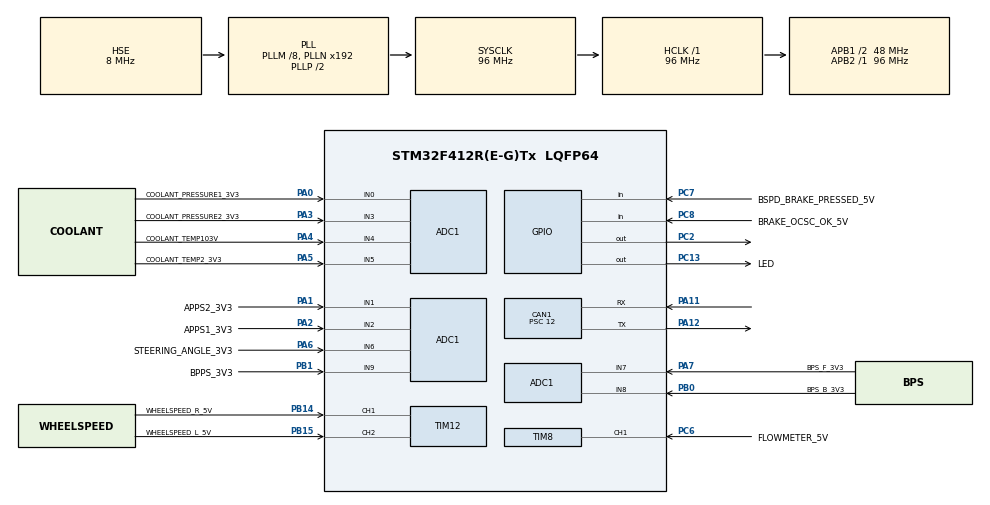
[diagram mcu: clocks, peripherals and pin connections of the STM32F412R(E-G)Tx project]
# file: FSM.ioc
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ADC1.Channel-0\#ChannelRegularConversion=ADC_CHANNEL_0
ADC1.Channel-1\#ChannelRegularConversion=ADC_CHANNEL_1
ADC1.Channel-2\#ChannelRegularConversion=ADC_CHANNEL_2
ADC1.Channel-3\#ChannelRegularConversion=ADC_CHANNEL_3
ADC1.Channel-4\#ChannelRegularConversion=ADC_CHANNEL_4
ADC1.Channel-5\#ChannelRegularConversion=ADC_CHANNEL_5
ADC1.Channel-6\#ChannelRegularConversion=ADC_CHANNEL_6
ADC1.Channel-7\#ChannelRegularConversion=ADC_CHANNEL_7
ADC1.Channel-8\#ChannelRegularConversion=ADC_CHANNEL_8
ADC1.Channel-9\#ChannelRegularConversion=ADC_CHANNEL_9
ADC1.DMAContinuousRequests=ENABLE
ADC1.ExternalTrigConv=ADC_EXTERNALTRIGCONV_T3_TRGO
ADC1.NbrOfConversion=10
ADC1.NbrOfConversionFlag=1
ADC1.Rank-0\#ChannelRegularConversion=1
ADC1.Rank-1\#ChannelRegularConversion=2
ADC1.Rank-2\#ChannelRegularConversion=3
ADC1.Rank-3\#ChannelRegularConversion=4
ADC1.Rank-4\#ChannelRegularConversion=5
ADC1.Rank-5\#ChannelRegularConversion=6
ADC1.Rank-6\#ChannelRegularConversion=7
ADC1.Rank-7\#ChannelRegularConversion=8
ADC1.Rank-8\#ChannelRegularConversion=9
ADC1.Rank-9\#ChannelRegularConversion=10
ADC1.SamplingTime-0\#ChannelRegularConversion=ADC_SAMPLETIME_3CYCLES
ADC1.SamplingTime-1\#ChannelRegularConversion=ADC_SAMPLETIME_3CYCLES
ADC1.SamplingTime-2\#ChannelRegularConversion=ADC_SAMPLETIME_3CYCLES
ADC1.SamplingTime-3\#ChannelRegularConversion=ADC_SAMPLETIME_3CYCLES
ADC1.SamplingTime-4\#ChannelRegularConversion=ADC_SAMPLETIME_3CYCLES
ADC1.SamplingTime-5\#ChannelRegularConversion=ADC_SAMPLETIME_3CYCLES
ADC1.SamplingTime-6\#ChannelRegularConversion=ADC_SAMPLETIME_3CYCLES
ADC1.SamplingTime-7\#ChannelRegularConversion=ADC_SAMPLETIME_3CYCLES
ADC1.SamplingTime-8\#ChannelRegularConversion=ADC_SAMPLETIME_3CYCLES
ADC1.SamplingTime-9\#ChannelRegularConversion=ADC_SAMPLETIME_3CYCLES
ADC1.master=1
CAN1.ABOM=ENABLE
CAN1.BS1=CAN_BS1_6TQ
CAN1.BS2=CAN_BS2_1TQ
CAN1.CalculateBaudRate=500000
CAN1.CalculateTimeBit=2000
CAN1.CalculateTimeQuantum=250.0
CAN1.NART=ENABLE
CAN1.Prescaler=12
CAN1.RFLM=ENABLE
CAN1.SJW=CAN_SJW_4TQ
CAN1.TXFP=ENABLE
Dma.ADC1.0.Direction=DMA_PERIPH_TO_MEMORY
Dma.ADC1.0.FIFOMode=DMA_FIFOMODE_DISABLE
Dma.ADC1.0.Instance=DMA2_Stream0
Dma.ADC1.0.MemDataAlignment=DMA_MDATAALIGN_HALFWORD
Dma.ADC1.0.MemInc=DMA_MINC_ENABLE
Dma.ADC1.0.Mode=DMA_CIRCULAR
Dma.ADC1.0.PeriphDataAlignment=DMA_PDATAALIGN_HALFWORD
Dma.ADC1.0.PeriphInc=DMA_PINC_DISABLE
Dma.ADC1.0.Priority=DMA_PRIORITY_LOW
Dma.Request0=ADC1
FREERTOS.INCLUDE_uxTaskGetStackHighWaterMark=1
FREERTOS.INCLUDE_vTaskDelayUntil=1
FREERTOS.MEMORY_ALLOCATION=1
FREERTOS.Tasks01=Task1kHz,48,512,RunTask1kHz,Default,NULL,Static,Task1kHzBuffer,Task1kHzControlBlock;Task100Hz,40,512,RunTask100Hz,Default,NULL,Static,Task100HzBuffer,Task100HzControlBlock;TaskCanRx,24,512,RunTaskCanRx,Default,NULL,Static,TaskCanRxBuffer,TaskCanRxControlBlock;TaskCanTx,24,512,RunTaskCanTx,Default,NULL,Static,TaskCanTxBuffer,TaskCanTxControlBlock;Task1Hz,32,512,RunTask1Hz,Default,NULL,Static,Task1HzBuffer,Task1HzControlBlock
FREERTOS.configCHECK_FOR_STACK_OVERFLOW=2
FREERTOS.configUSE_NEWLIB_REENTRANT=1
FREERTOS.configUSE_TICK_HOOK=1
FREERTOS.configUSE_TRACE_FACILITY=1
IWDG.Reload=LSI_FREQUENCY / IWDG_PRESCALER / IWDG_RESET_FREQUENCY
Mcu.Family=STM32F4
Mcu.Name=STM32F412R(E-G)Tx
Mcu.Package=LQFP64
Mcu.UserConstants=LSI_FREQUENCY,32000;IWDG_PRESCALER,4;IWDG_RESET_FREQUENCY,5;IWDG_WINDOW_DISABLE_VALUE,4095;IDWG_RESET_FREQUENCY,5;TASK_1HZ_STACK_SIZE,512;TASK_100HZ_STACK_SIZE,512;TASK_1KHZ_STACK_SIZE,512;TASK_CANRX_STACK_SIZE,512;TASK_CANTX_STACK_SIZE,512;TIM8_AUTO_RELOAD_REG,0xFFFF;TIMx_FREQUENCY,96000000;TIM8_PWM_MINIMUM_FREQUENCY,1;ADC_FREQUENCY,1000;TIM8_PRESCALER,(TIMx_FREQUENCY / TIM8_AUTO_RELOAD_REG / TIM8_PWM_MINIMUM_FREQUENCY);TIM12_AUTO_RELOAD_REG,0xFFFF;TIM12_PRESCALER,(TIMx_FREQUENCY / TIM12_AUTO_RELOAD_REG / TIM12_PWM_MINIMUM_FREQUENCY);TIM12_PWM_MINIMUM_FREQUENCY,1;TIM3_PRESCALER,8
NVIC.CAN1_RX0_IRQn=true\:5\:0\:false\:false\:true\:true\:true\:true\:true
NVIC.CAN1_RX1_IRQn=true\:5\:0\:false\:false\:true\:true\:true\:true\:true
NVIC.DMA2_Stream0_IRQn=true\:5\:0\:false\:false\:true\:true\:false\:true\:true
NVIC.PriorityGroup=NVIC_PRIORITYGROUP_4
NVIC.TIM3_IRQn=true\:5\:0\:false\:false\:true\:true\:true\:true\:true
NVIC.TIM6_IRQn=true\:0\:0\:false\:false\:true\:false\:false\:true\:true
NVIC.TIM8_BRK_TIM12_IRQn=true\:5\:0\:false\:false\:true\:true\:true\:true\:true
NVIC.TIM8_CC_IRQn=true\:5\:0\:false\:false\:true\:true\:true\:true\:true
NVIC.TimeBase=TIM6_IRQn
NVIC.TimeBaseIP=TIM6
PA0.GPIO_Label=COOLANT_PRESSURE1_3V3
PA0.Signal=ADCx_IN0
PA1.GPIO_Label=APPS2_3V3
PA1.Signal=ADCx_IN1
PA11.Mode=CAN_Activate
PA11.Signal=CAN1_RX
PA12.Mode=CAN_Activate
PA12.Signal=CAN1_TX
PA13.Mode=Trace_Asynchronous_SW
PA13.Signal=SYS_JTMS-SWDIO
PA14.Mode=Trace_Asynchronous_SW
PA14.Signal=SYS_JTCK-SWCLK
PA2.GPIO_Label=APPS1_3V3
PA2.Signal=ADCx_IN2
PA3.GPIO_Label=COOLANT_PRESSURE2_3V3
PA3.Signal=ADCx_IN3
PA4.GPIO_Label=COOLANT_TEMP103V
PA4.Signal=ADCx_IN4
PA5.GPIO_Label=COOLANT_TEMP2_3V3
PA5.Signal=ADCx_IN5
PA6.GPIO_Label=STEERING_ANGLE_3V3
PA6.Signal=ADCx_IN6
PA7.GPIO_Label=BPS_F_3V3
PA7.Signal=ADCx_IN7
PB0.GPIO_Label=BPS_B_3V3
PB0.Signal=ADCx_IN8
PB1.GPIO_Label=BPPS_3V3
PB1.Signal=ADCx_IN9
PB14.GPIO_Label=WHEELSPEED_R_5V
PB14.Signal=S_TIM12_CH1
PB15.GPIO_Label=WHEELSPEED_L_5V
PB15.Signal=S_TIM12_CH2
PB3.Mode=Trace_Asynchronous_SW
PB3.Signal=SYS_JTDO-SWO
PC13.GPIO_Label=LED
PC13.Signal=GPIO_Output
PC2.Signal=GPIO_Output
PC6.GPIO_Label=FLOWMETER_5V
PC6.Signal=S_TIM8_CH1
PC7.GPIO_Label=BSPD_BRAKE_PRESSED_5V
PC7.GPIO_PuPd=GPIO_NOPULL
PC7.Signal=GPIO_Input
PC8.GPIO_Label=BRAKE_OCSC_OK_5V
PC8.Signal=GPIO_Input
PH0\ -\ OSC_IN.Mode=HSE-External-Oscillator
PH0\ -\ OSC_IN.Signal=RCC_OSC_IN
PH1\ -\ OSC_OUT.Mode=HSE-External-Oscillator
PH1\ -\ OSC_OUT.Signal=RCC_OSC_OUT
ProjectManager.HeapSize=0x200
ProjectManager.StackSize=0x400
ProjectManager.TargetToolchain=STM32CubeIDE
RCC.AHBFreq_Value=96000000
RCC.APB1CLKDivider=RCC_HCLK_DIV2
RCC.APB1Freq_Value=48000000
RCC.APB1TimFreq_Value=96000000
RCC.APB2Freq_Value=96000000
RCC.APB2TimFreq_Value=96000000
RCC.CortexFreq_Value=96000000
RCC.HCLKFreq_Value=96000000
RCC.HSE_VALUE=8000000
RCC.PLLM=8
RCC.PLLSourceVirtual=RCC_PLLSOURCE_HSE
RCC.SYSCLKFreq_VALUE=96000000
RCC.SYSCLKSource=RCC_SYSCLKSOURCE_PLLCLK
RCC.USBFreq_Value=96000000
RCC.VCOOutputFreq_Value=192000000
SH.ADCx_IN0.0=ADC1_IN0,IN0
SH.ADCx_IN1.0=ADC1_IN1,IN1
SH.ADCx_IN2.0=ADC1_IN2,IN2
SH.ADCx_IN3.0=ADC1_IN3,IN3
SH.ADCx_IN4.0=ADC1_IN4,IN4
SH.ADCx_IN5.0=ADC1_IN5,IN5
SH.ADCx_IN6.0=ADC1_IN6,IN6
SH.ADCx_IN7.0=ADC1_IN7,IN7
SH.ADCx_IN8.0=ADC1_IN8,IN8
SH.ADCx_IN9.0=ADC1_IN9,IN9
SH.S_TIM12_CH1.0=TIM12_CH1,Input_Capture1_from_TI1
SH.S_TIM12_CH2.0=TIM12_CH2,Input_Capture2_from_TI2
SH.S_TIM8_CH1.0=TIM8_CH1,Input_Capture1_from_TI1
TIM12.Channel-Input_Capture1_from_TI1=TIM_CHANNEL_1
TIM12.Channel-Input_Capture2_from_TI2=TIM_CHANNEL_2
TIM12.Period=TIM12_AUTO_RELOAD_REG
TIM12.Prescaler=TIM12_PRESCALER
TIM3.Period=(TIMx_FREQUENCY / TIM3_PRESCALER / ADC_FREQUENCY) - 1
TIM3.Prescaler=TIM3_PRESCALER - 1 
TIM3.TIM_MasterOutputTrigger=TIM_TRGO_UPDATE
TIM8.Channel-Input_Capture1_from_TI1=TIM_CHANNEL_1
TIM8.Period=TIM8_AUTO_RELOAD_REG
TIM8.Prescaler=TIM8_PRESCALER
VP_FREERTOS_VS_CMSIS_V2.Mode=CMSIS_V2
VP_IWDG_VS_IWDG.Mode=IWDG_Activate
VP_SYS_VS_tim6.Mode=TIM6
VP_TIM3_VS_ClockSourceINT.Mode=Internal
board=custom

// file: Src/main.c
/* USER CODE BEGIN Header */
/**
 ******************************************************************************
 * @file           : main.c
 * @brief          : Main program body
 ******************************************************************************
 * @attention
 *
 * <h2><center>&copy; Copyright (c) 2020 STMicroelectronics.
 * All rights reserved.</center></h2>
 *
 * This software component is licensed by ST under Ultimate Liberty license
 * SLA0044, the "License"; You may not use this file except in compliance with
 * the License. You may obtain a copy of the License at:
 *                             www.st.com/SLA0044
 *
 ******************************************************************************
 */
/* USER CODE END Header */
#include "main.h"
#include "cmsis_os.h"

/* USER CODE BEGIN Includes */
#include <assert.h>
// shared
#include "App_SharedMacros.h"
#include "App_SharedStateMachine.h"
#include "App_Timer.h"
#include "App_CanAlerts.h"

// IO functions exposing
#include "Io_CanTx.h"
#include "Io_CanRx.h"
#include "Io_SharedSoftwareWatchdog.h"
#include "hw_hardFaultHandler.h"
#include "Io_StackWaterMark.h"
#include "Io_SoftwareWatchdog.h"
#include "Io_Coolant.h"
#include "Io_SharedHeartbeatMonitor.h"
#include "Io_WheelSpeedSensors.h"
#include "Io_SteeringAngleSensor.h"
#include "Io_Adc.h"
#include "Io_AcceleratorPedals.h"
#include "Io_Brake.h"
#include "Io_PrimaryScancon2RMHF.h"
#include "Io_SecondaryScancon2RMHF.h"
#include "io_can.h"
#include "io_jsoncan.h"
#include "hw_bootup.h"
#include "hw_can.h"

// world/state
#include "App_FsmWorld.h"
#include "states/App_DriveState.h"

// Sensors
#include "App_AcceleratorPedals.h"
#include "App_Brake.h"
#include "App_Coolant.h"
#include "App_Steering.h"
#include "App_Wheels.h"
#include "configs/App_HeartbeatMonitorConfig.h"

// commit info
#include "App_CommitInfo.h"

/* USER CODE END Includes */

typedef StaticTask_t osStaticThreadDef_t;

ADC_HandleTypeDef hadc1;
DMA_HandleTypeDef hdma_adc1;

CAN_HandleTypeDef hcan1;

IWDG_HandleTypeDef hiwdg;

TIM_HandleTypeDef htim3;
TIM_HandleTypeDef htim8;
TIM_HandleTypeDef htim12;

/* Definitions for Task1kHz */
osThreadId_t         Task1kHzHandle;
uint32_t             Task1kHzBuffer[512];
osStaticThreadDef_t  Task1kHzControlBlock;
const osThreadAttr_t Task1kHz_attributes = {
    .name       = "Task1kHz",
    .cb_mem     = &Task1kHzControlBlock,
    .cb_size    = sizeof(Task1kHzControlBlock),
    .stack_mem  = &Task1kHzBuffer[0],
    .stack_size = sizeof(Task1kHzBuffer),
    .priority   = (osPriority_t)osPriorityRealtime,
};
/* Definitions for Task100Hz */
osThreadId_t         Task100HzHandle;
uint32_t             Task100HzBuffer[512];
osStaticThreadDef_t  Task100HzControlBlock;
const osThreadAttr_t Task100Hz_attributes = {
    .name       = "Task100Hz",
    .cb_mem     = &Task100HzControlBlock,
    .cb_size    = sizeof(Task100HzControlBlock),
    .stack_mem  = &Task100HzBuffer[0],
    .stack_size = sizeof(Task100HzBuffer),
    .priority   = (osPriority_t)osPriorityHigh,
};
/* Definitions for TaskCanRx */
osThreadId_t         TaskCanRxHandle;
uint32_t             TaskCanRxBuffer[512];
osStaticThreadDef_t  TaskCanRxControlBlock;
const osThreadAttr_t TaskCanRx_attributes = {
    .name       = "TaskCanRx",
    .cb_mem     = &TaskCanRxControlBlock,
    .cb_size    = sizeof(TaskCanRxControlBlock),
    .stack_mem  = &TaskCanRxBuffer[0],
    .stack_size = sizeof(TaskCanRxBuffer),
    .priority   = (osPriority_t)osPriorityNormal,
};
/* Definitions for TaskCanTx */
osThreadId_t         TaskCanTxHandle;
uint32_t             TaskCanTxBuffer[512];
osStaticThreadDef_t  TaskCanTxControlBlock;
const osThreadAttr_t TaskCanTx_attributes = {
    .name       = "TaskCanTx",
    .cb_mem     = &TaskCanTxControlBlock,
    .cb_size    = sizeof(TaskCanTxControlBlock),
    .stack_mem  = &TaskCanTxBuffer[0],
    .stack_size = sizeof(TaskCanTxBuffer),
    .priority   = (osPriority_t)osPriorityNormal,
};
/* Definitions for Task1Hz */
osThreadId_t         Task1HzHandle;
uint32_t             Task1HzBuffer[512];
osStaticThreadDef_t  Task1HzControlBlock;
const osThreadAttr_t Task1Hz_attributes = {
    .name       = "Task1Hz",
    .cb_mem     = &Task1HzControlBlock,
    .cb_size    = sizeof(Task1HzControlBlock),
    .stack_mem  = &Task1HzBuffer[0],
    .stack_size = sizeof(Task1HzBuffer),
    .priority   = (osPriority_t)osPriorityAboveNormal,
};
/* USER CODE BEGIN PV */
struct Brake *            brake;
struct World *            world;
struct StateMachine *     state_machine;
struct HeartbeatMonitor * heartbeat_monitor;
struct AcceleratorPedals *papps_and_sapps;
struct Coolant *          coolant;
struct Steering *         steering;
struct Wheels *           wheels;
/* USER CODE END PV */

void        SystemClock_Config(void);
static void MX_GPIO_Init(void);
static void MX_DMA_Init(void);
static void MX_ADC1_Init(void);
static void MX_CAN1_Init(void);
static void MX_IWDG_Init(void);
static void MX_TIM8_Init(void);
static void MX_TIM12_Init(void);
static void MX_TIM3_Init(void);
void        RunTask1kHz(void *argument);
void        RunTask100Hz(void *argument);
void        RunTaskCanRx(void *argument);
void        RunTaskCanTx(void *argument);
void        RunTask1Hz(void *argument);

/* USER CODE BEGIN PFP */

static void CanRxQueueOverflowCallBack(uint32_t overflow_count);
static void CanTxQueueOverflowCallBack(uint32_t overflow_count);

/* USER CODE END PFP */

/* USER CODE BEGIN 0 */

static void CanRxQueueOverflowCallBack(uint32_t overflow_count)
{
    App_CanTx_FSM_RxOverflowCount_Set(overflow_count);
    App_CanAlerts_FSM_Warning_RxOverflow_Set(true);
}

static void CanTxQueueOverflowCallBack(uint32_t overflow_count)
{
    App_CanTx_FSM_TxOverflowCount_Set(overflow_count);
    App_CanAlerts_FSM_Warning_TxOverflow_Set(true);
}

static const CanConfig can_config = {
    .rx_msg_filter        = Io_CanRx_FilterMessageId,
    .tx_overflow_callback = CanTxQueueOverflowCallBack,
    .rx_overflow_callback = CanRxQueueOverflowCallBack,
};

/* USER CODE END 0 */

int main(void)
{
    /* USER CODE BEGIN 1 */
    // After booting, re-enable interrupts and ensure the core is using the application's vector table.
    hw_bootup_enableInterruptsForApp();
    /* USER CODE END 1 */

    /* MCU Configuration--------------------------------------------------------*/

    /* Reset of all peripherals, Initializes the Flash interface and the Systick. */
    HAL_Init();

    /* Configure the system clock */
    SystemClock_Config();

    /* Initialize all configured peripherals */
    MX_GPIO_Init();
    MX_DMA_Init();
    MX_ADC1_Init();
    MX_CAN1_Init();
    MX_IWDG_Init();
    MX_TIM8_Init();
    MX_TIM12_Init();
    MX_TIM3_Init();
    /* USER CODE BEGIN 2 */
    __HAL_DBGMCU_FREEZE_IWDG();

    // Configure and initialize SEGGER SystemView.
    SEGGER_SYSVIEW_Conf();

    HAL_ADC_Start_DMA(&hadc1, (uint32_t *)Io_Adc_GetRawAdcValues(), hadc1.Init.NbrOfConversion);
    HAL_TIM_Base_Start(&htim3);

    hw_hardFaultHandler_init();
    hw_can_init(&hcan1);

    Io_SharedSoftwareWatchdog_Init(Io_HardwareWatchdog_Refresh, Io_SoftwareWatchdog_TimeoutCallback);
    Io_CanTx_Init(io_jsoncan_pushTxMsgToQueue);
    Io_CanTx_EnableMode(CAN_MODE_DEFAULT, true);
    Io_AcceleratorPedals_Init();
    io_can_init(&can_config);

    App_CanTx_Init();
    App_CanRx_Init();

    heartbeat_monitor = App_SharedHeartbeatMonitor_Create(
        Io_SharedHeartbeatMonitor_GetCurrentMs, HEARTBEAT_MONITOR_TIMEOUT_PERIOD_MS, HEARTBEAT_MONITOR_BOARDS_TO_CHECK);

    papps_and_sapps = App_AcceleratorPedals_Create(
        Io_AcceleratorPedals_GetPapps, Io_AcceleratorPedals_PappsOCSC, Io_AcceleratorPedals_GetSapps,
        Io_AcceleratorPedals_SappsOCSC);

    brake = App_Brake_Create(
        Io_Brake_GetFrontPressurePsi, Io_Brake_FrontPressureSensorOCSC, Io_Brake_GetRearPressurePsi,
        Io_Brake_RearPressureSensorOCSC, Io_Brake_GetPedalPercentTravel, Io_Brake_PedalSensorOCSC, Io_Brake_IsActuated);

    Io_FlowMeter_Init(&htim8);
    coolant = App_Coolant_Create(
        Io_FlowMeter_GetFlowRate, Io_Coolant_GetTemperatureA, Io_Coolant_GetTemperatureB, Io_Coolant_GetPressureA,
        Io_Coolant_GetPressureB);

    steering = App_Steering_Create(Io_SteeringAngleSensor_GetAngleDegree, Io_SteeringSensorOCSC);

    Io_WheelSpeedSensors_Init(&htim12, &htim12);
    wheels = App_Wheels_Create(Io_WheelSpeedSensors_GetLeftSpeedKph, Io_WheelSpeedSensors_GetRightSpeedKph);

    world = App_FsmWorld_Create(heartbeat_monitor, papps_and_sapps, brake, coolant, steering, wheels);

    state_machine = App_SharedStateMachine_Create(world, App_GetDriveState());

    // broadcast commit info
    App_CanTx_FSM_Hash_Set(GIT_COMMIT_HASH);
    App_CanTx_FSM_Clean_Set(GIT_COMMIT_CLEAN);

    /* USER CODE END 2 */

    /* Init scheduler */
    osKernelInitialize();

    /* Create the thread(s) */
    /* creation of Task1kHz */
    Task1kHzHandle = osThreadNew(RunTask1kHz, NULL, &Task1kHz_attributes);

    /* creation of Task100Hz */
    Task100HzHandle = osThreadNew(RunTask100Hz, NULL, &Task100Hz_attributes);

    /* creation of TaskCanRx */
    TaskCanRxHandle = osThreadNew(RunTaskCanRx, NULL, &TaskCanRx_attributes);

    /* creation of TaskCanTx */
    TaskCanTxHandle = osThreadNew(RunTaskCanTx, NULL, &TaskCanTx_attributes);

    /* creation of Task1Hz */
    Task1HzHandle = osThreadNew(RunTask1Hz, NULL, &Task1Hz_attributes);

    /* Start scheduler */
    osKernelStart();

    /* We should never get here as control is now taken by the scheduler */
    /* Infinite loop */
    while (1)
    {

    }
}

void SystemClock_Config(void)
{
    RCC_OscInitTypeDef RCC_OscInitStruct = { 0 };
    RCC_ClkInitTypeDef RCC_ClkInitStruct = { 0 };

    /** Configure the main internal regulator output voltage
     */
    __HAL_RCC_PWR_CLK_ENABLE();
    __HAL_PWR_VOLTAGESCALING_CONFIG(PWR_REGULATOR_VOLTAGE_SCALE1);

    /** Initializes the RCC Oscillators according to the specified parameters
     * in the RCC_OscInitTypeDef structure.
     */
    RCC_OscInitStruct.OscillatorType = RCC_OSCILLATORTYPE_LSI | RCC_OSCILLATORTYPE_HSE;
    RCC_OscInitStruct.HSEState       = RCC_HSE_ON;
    RCC_OscInitStruct.LSIState       = RCC_LSI_ON;
    RCC_OscInitStruct.PLL.PLLState   = RCC_PLL_ON;
    RCC_OscInitStruct.PLL.PLLSource  = RCC_PLLSOURCE_HSE;
    RCC_OscInitStruct.PLL.PLLM       = 8;
    RCC_OscInitStruct.PLL.PLLN       = 192;
    RCC_OscInitStruct.PLL.PLLP       = RCC_PLLP_DIV2;
    RCC_OscInitStruct.PLL.PLLQ       = 2;
    RCC_OscInitStruct.PLL.PLLR       = 2;
    if (HAL_RCC_OscConfig(&RCC_OscInitStruct) != HAL_OK)
    {
        Error_Handler();
    }

    /** Initializes the CPU, AHB and APB buses clocks
     */
    RCC_ClkInitStruct.ClockType = RCC_CLOCKTYPE_HCLK | RCC_CLOCKTYPE_SYSCLK | RCC_CLOCKTYPE_PCLK1 | RCC_CLOCKTYPE_PCLK2;
    RCC_ClkInitStruct.SYSCLKSource   = RCC_SYSCLKSOURCE_PLLCLK;
    RCC_ClkInitStruct.AHBCLKDivider  = RCC_SYSCLK_DIV1;
    RCC_ClkInitStruct.APB1CLKDivider = RCC_HCLK_DIV2;
    RCC_ClkInitStruct.APB2CLKDivider = RCC_HCLK_DIV1;

    if (HAL_RCC_ClockConfig(&RCC_ClkInitStruct, FLASH_LATENCY_3) != HAL_OK)
    {
        Error_Handler();
    }
}

static void MX_ADC1_Init(void)
{

    ADC_ChannelConfTypeDef sConfig = { 0 };

    /** Configure the global features of the ADC (Clock, Resolution, Data Alignment and number of conversion)
     */
    hadc1.Instance                   = ADC1;
    hadc1.Init.ClockPrescaler        = ADC_CLOCK_SYNC_PCLK_DIV4;
    hadc1.Init.Resolution            = ADC_RESOLUTION_12B;
    hadc1.Init.ScanConvMode          = ENABLE;
    hadc1.Init.ContinuousConvMode    = DISABLE;
    hadc1.Init.DiscontinuousConvMode = DISABLE;
    hadc1.Init.ExternalTrigConvEdge  = ADC_EXTERNALTRIGCONVEDGE_RISING;
    hadc1.Init.ExternalTrigConv      = ADC_EXTERNALTRIGCONV_T3_TRGO;
    hadc1.Init.DataAlign             = ADC_DATAALIGN_RIGHT;
    hadc1.Init.NbrOfConversion       = 10;
    hadc1.Init.DMAContinuousRequests = ENABLE;
    hadc1.Init.EOCSelection          = ADC_EOC_SINGLE_CONV;
    if (HAL_ADC_Init(&hadc1) != HAL_OK)
    {
        Error_Handler();
    }

    /** Configure for the selected ADC regular channel its corresponding rank in the sequencer and its sample time.
     */
    sConfig.Channel      = ADC_CHANNEL_0;
    sConfig.Rank         = 1;
    sConfig.SamplingTime = ADC_SAMPLETIME_3CYCLES;
    if (HAL_ADC_ConfigChannel(&hadc1, &sConfig) != HAL_OK)
    {
        Error_Handler();
    }

    /** Configure for the selected ADC regular channel its corresponding rank in the sequencer and its sample time.
     */
    sConfig.Channel = ADC_CHANNEL_1;
    sConfig.Rank    = 2;
    if (HAL_ADC_ConfigChannel(&hadc1, &sConfig) != HAL_OK)
    {
        Error_Handler();
    }

    /** Configure for the selected ADC regular channel its corresponding rank in the sequencer and its sample time.
     */
    sConfig.Channel = ADC_CHANNEL_2;
    sConfig.Rank    = 3;
    if (HAL_ADC_ConfigChannel(&hadc1, &sConfig) != HAL_OK)
    {
        Error_Handler();
    }

    /** Configure for the selected ADC regular channel its corresponding rank in the sequencer and its sample time.
     */
    sConfig.Channel = ADC_CHANNEL_3;
    sConfig.Rank    = 4;
    if (HAL_ADC_ConfigChannel(&hadc1, &sConfig) != HAL_OK)
    {
        Error_Handler();
    }

    /** Configure for the selected ADC regular channel its corresponding rank in the sequencer and its sample time.
     */
    sConfig.Channel = ADC_CHANNEL_4;
    sConfig.Rank    = 5;
    if (HAL_ADC_ConfigChannel(&hadc1, &sConfig) != HAL_OK)
    {
        Error_Handler();
    }

    /** Configure for the selected ADC regular channel its corresponding rank in the sequencer and its sample time.
     */
    sConfig.Channel = ADC_CHANNEL_5;
    sConfig.Rank    = 6;
    if (HAL_ADC_ConfigChannel(&hadc1, &sConfig) != HAL_OK)
    {
        Error_Handler();
    }

    /** Configure for the selected ADC regular channel its corresponding rank in the sequencer and its sample time.
     */
    sConfig.Channel = ADC_CHANNEL_6;
    sConfig.Rank    = 7;
    if (HAL_ADC_ConfigChannel(&hadc1, &sConfig) != HAL_OK)
    {
        Error_Handler();
    }

    /** Configure for the selected ADC regular channel its corresponding rank in the sequencer and its sample time.
     */
    sConfig.Channel = ADC_CHANNEL_7;
    sConfig.Rank    = 8;
    if (HAL_ADC_ConfigChannel(&hadc1, &sConfig) != HAL_OK)
    {
        Error_Handler();
    }

    /** Configure for the selected ADC regular channel its corresponding rank in the sequencer and its sample time.
     */
    sConfig.Channel = ADC_CHANNEL_8;
    sConfig.Rank    = 9;
    if (HAL_ADC_ConfigChannel(&hadc1, &sConfig) != HAL_OK)
    {
        Error_Handler();
    }

    /** Configure for the selected ADC regular channel its corresponding rank in the sequencer and its sample time.
     */
    sConfig.Channel = ADC_CHANNEL_9;
    sConfig.Rank    = 10;
    if (HAL_ADC_ConfigChannel(&hadc1, &sConfig) != HAL_OK)
    {
        Error_Handler();
    }
}

static void MX_CAN1_Init(void)
{

    hcan1.Instance                  = CAN1;
    hcan1.Init.Prescaler            = 12;
    hcan1.Init.Mode                 = CAN_MODE_NORMAL;
    hcan1.Init.SyncJumpWidth        = CAN_SJW_4TQ;
    hcan1.Init.TimeSeg1             = CAN_BS1_6TQ;
    hcan1.Init.TimeSeg2             = CAN_BS2_1TQ;
    hcan1.Init.TimeTriggeredMode    = DISABLE;
    hcan1.Init.AutoBusOff           = ENABLE;
    hcan1.Init.AutoWakeUp           = DISABLE;
    hcan1.Init.AutoRetransmission   = ENABLE;
    hcan1.Init.ReceiveFifoLocked    = ENABLE;
    hcan1.Init.TransmitFifoPriority = ENABLE;
    if (HAL_CAN_Init(&hcan1) != HAL_OK)
    {
        Error_Handler();
    }
}

static void MX_IWDG_Init(void)
{

    hiwdg.Instance       = IWDG;
    hiwdg.Init.Prescaler = IWDG_PRESCALER_4;
    hiwdg.Init.Reload    = LSI_FREQUENCY / IWDG_PRESCALER / IWDG_RESET_FREQUENCY;
    if (HAL_IWDG_Init(&hiwdg) != HAL_OK)
    {
        Error_Handler();
    }
}

static void MX_TIM3_Init(void)
{

    TIM_ClockConfigTypeDef  sClockSourceConfig = { 0 };
    TIM_MasterConfigTypeDef sMasterConfig      = { 0 };

    htim3.Instance               = TIM3;
    htim3.Init.Prescaler         = TIM3_PRESCALER - 1;
    htim3.Init.CounterMode       = TIM_COUNTERMODE_UP;
    htim3.Init.Period            = (TIMx_FREQUENCY / TIM3_PRESCALER / ADC_FREQUENCY) - 1;
    htim3.Init.ClockDivision     = TIM_CLOCKDIVISION_DIV1;
    htim3.Init.AutoReloadPreload = TIM_AUTORELOAD_PRELOAD_DISABLE;
    if (HAL_TIM_Base_Init(&htim3) != HAL_OK)
    {
        Error_Handler();
    }
    sClockSourceConfig.ClockSource = TIM_CLOCKSOURCE_INTERNAL;
    if (HAL_TIM_ConfigClockSource(&htim3, &sClockSourceConfig) != HAL_OK)
    {
        Error_Handler();
    }
    sMasterConfig.MasterOutputTrigger = TIM_TRGO_UPDATE;
    sMasterConfig.MasterSlaveMode     = TIM_MASTERSLAVEMODE_DISABLE;
    if (HAL_TIMEx_MasterConfigSynchronization(&htim3, &sMasterConfig) != HAL_OK)
    {
        Error_Handler();
    }
}

static void MX_TIM8_Init(void)
{

    TIM_MasterConfigTypeDef sMasterConfig = { 0 };
    TIM_IC_InitTypeDef      sConfigIC     = { 0 };

    htim8.Instance               = TIM8;
    htim8.Init.Prescaler         = TIM8_PRESCALER;
    htim8.Init.CounterMode       = TIM_COUNTERMODE_UP;
    htim8.Init.Period            = TIM8_AUTO_RELOAD_REG;
    htim8.Init.ClockDivision     = TIM_CLOCKDIVISION_DIV1;
    htim8.Init.RepetitionCounter = 0;
    htim8.Init.AutoReloadPreload = TIM_AUTORELOAD_PRELOAD_DISABLE;
    if (HAL_TIM_IC_Init(&htim8) != HAL_OK)
    {
        Error_Handler();
    }
    sMasterConfig.MasterOutputTrigger = TIM_TRGO_RESET;
    sMasterConfig.MasterSlaveMode     = TIM_MASTERSLAVEMODE_DISABLE;
    if (HAL_TIMEx_MasterConfigSynchronization(&htim8, &sMasterConfig) != HAL_OK)
    {
        Error_Handler();
    }
    sConfigIC.ICPolarity  = TIM_INPUTCHANNELPOLARITY_RISING;
    sConfigIC.ICSelection = TIM_ICSELECTION_DIRECTTI;
    sConfigIC.ICPrescaler = TIM_ICPSC_DIV1;
    sConfigIC.ICFilter    = 0;
    if (HAL_TIM_IC_ConfigChannel(&htim8, &sConfigIC, TIM_CHANNEL_1) != HAL_OK)
    {
        Error_Handler();
    }
}

static void MX_TIM12_Init(void)
{

    TIM_IC_InitTypeDef sConfigIC = { 0 };

    htim12.Instance               = TIM12;
    htim12.Init.Prescaler         = TIM12_PRESCALER;
    htim12.Init.CounterMode       = TIM_COUNTERMODE_UP;
    htim12.Init.Period            = TIM12_AUTO_RELOAD_REG;
    htim12.Init.ClockDivision     = TIM_CLOCKDIVISION_DIV1;
    htim12.Init.AutoReloadPreload = TIM_AUTORELOAD_PRELOAD_DISABLE;
    if (HAL_TIM_IC_Init(&htim12) != HAL_OK)
    {
        Error_Handler();
    }
    sConfigIC.ICPolarity  = TIM_INPUTCHANNELPOLARITY_RISING;
    sConfigIC.ICSelection = TIM_ICSELECTION_DIRECTTI;
    sConfigIC.ICPrescaler = TIM_ICPSC_DIV1;
    sConfigIC.ICFilter    = 0;
    if (HAL_TIM_IC_ConfigChannel(&htim12, &sConfigIC, TIM_CHANNEL_1) != HAL_OK)
    {
        Error_Handler();
    }
    if (HAL_TIM_IC_ConfigChannel(&htim12, &sConfigIC, TIM_CHANNEL_2) != HAL_OK)
    {
        Error_Handler();
    }
}

static void MX_DMA_Init(void)
{
    /* DMA controller clock enable */
    __HAL_RCC_DMA2_CLK_ENABLE();

    /* DMA interrupt init */
    /* DMA2_Stream0_IRQn interrupt configuration */
    HAL_NVIC_SetPriority(DMA2_Stream0_IRQn, 5, 0);
    HAL_NVIC_EnableIRQ(DMA2_Stream0_IRQn);
}

static void MX_GPIO_Init(void)
{
    GPIO_InitTypeDef GPIO_InitStruct = { 0 };

    /* GPIO Ports Clock Enable */
    __HAL_RCC_GPIOC_CLK_ENABLE();
    __HAL_RCC_GPIOH_CLK_ENABLE();
    __HAL_RCC_GPIOA_CLK_ENABLE();
    __HAL_RCC_GPIOB_CLK_ENABLE();

    /*Configure GPIO pin Output Level */
    HAL_GPIO_WritePin(LED_GPIO_Port, LED_Pin, GPIO_PIN_RESET);

    /*Configure GPIO pin : LED_Pin */
    GPIO_InitStruct.Pin   = LED_Pin;
    GPIO_InitStruct.Mode  = GPIO_MODE_OUTPUT_PP;
    GPIO_InitStruct.Pull  = GPIO_NOPULL;
    GPIO_InitStruct.Speed = GPIO_SPEED_FREQ_LOW;
    HAL_GPIO_Init(LED_GPIO_Port, &GPIO_InitStruct);

    /*Configure GPIO pins : BSPD_BRAKE_PRESSED_5V_Pin BRAKE_OCSC_OK_5V_Pin */
    GPIO_InitStruct.Pin  = BSPD_BRAKE_PRESSED_5V_Pin | BRAKE_OCSC_OK_5V_Pin;
    GPIO_InitStruct.Mode = GPIO_MODE_INPUT;
    GPIO_InitStruct.Pull = GPIO_NOPULL;
    HAL_GPIO_Init(GPIOC, &GPIO_InitStruct);

}

void RunTask1kHz(void *argument)
{
    /* USER CODE BEGIN 5 */
    UNUSED(argument);
    static const TickType_t  period_ms = 1U;
    SoftwareWatchdogHandle_t watchdog  = Io_SharedSoftwareWatchdog_AllocateWatchdog();
    Io_SharedSoftwareWatchdog_InitWatchdog(watchdog, RTOS_TASK_1KHZ, period_ms);

    static uint32_t start_ticks = 0;
    start_ticks                 = osKernelGetTickCount();

    for (;;)
    {
        const uint32_t start_time_ms = osKernelGetTickCount();

        Io_SharedSoftwareWatchdog_CheckForTimeouts();
        const uint32_t task_start_ms = TICK_TO_MS(osKernelGetTickCount());

        App_Timer_SetCurrentTimeMS(task_start_ms);
        Io_CanTx_EnqueueOtherPeriodicMsgs(task_start_ms);

        // Watchdog check-in must be the last function called before putting the
        // task to sleep. Prevent check in if the elapsed period is greater or
        // equal to the period ms
        if ((TICK_TO_MS(osKernelGetTickCount()) - task_start_ms) <= period_ms)
        {
            Io_SharedSoftwareWatchdog_CheckInWatchdog(watchdog);
        }

        start_ticks += period_ms;
        osDelayUntil(start_ticks);
    }
    /* USER CODE END 5 */
}

void RunTask100Hz(void *argument)
{
    /* USER CODE BEGIN RunTask100Hz */
    UNUSED(argument);
    static const TickType_t  period_ms = 10;
    SoftwareWatchdogHandle_t watchdog  = Io_SharedSoftwareWatchdog_AllocateWatchdog();
    Io_SharedSoftwareWatchdog_InitWatchdog(watchdog, RTOS_TASK_100HZ, period_ms);

    static uint32_t start_ticks = 0;
    start_ticks                 = osKernelGetTickCount();

    /* Infinite loop */
    for (;;)
    {
        const uint32_t start_time_ms = osKernelGetTickCount();

        App_SharedStateMachine_Tick100Hz(state_machine);
        Io_CanTx_Enqueue100HzMsgs();

        // Watchdog check-in must be the last function called before putting the
        // task to sleep.
        Io_SharedSoftwareWatchdog_CheckInWatchdog(watchdog);

        start_ticks += period_ms;
        osDelayUntil(start_ticks);
    }
    /* USER CODE END RunTask100Hz */
}

void RunTaskCanRx(void *argument)
{
    /* USER CODE BEGIN RunTaskCanRx */
    UNUSED(argument);

    /* Infinite loop */
    for (;;)
    {
        CanMsg rx_msg;
        io_can_popRxMsgFromQueue(&rx_msg);

        JsonCanMsg jsoncan_rx_msg;
        io_jsoncan_copyFromCanMsg(&rx_msg, &jsoncan_rx_msg);
        Io_CanRx_UpdateRxTableWithMessage(&jsoncan_rx_msg);
    }
    /* USER CODE END RunTaskCanRx */
}

void RunTaskCanTx(void *argument)
{
    /* USER CODE BEGIN RunTaskCanTx */
    UNUSED(argument);

    /* Infinite loop */
    for (;;)
    {
        io_can_transmitMsgFromQueue();
    }
    /* USER CODE END RunTaskCanTx */
}

void RunTask1Hz(void *argument)
{
    /* USER CODE BEGIN RunTask1Hz */
    UNUSED(argument);
    static const TickType_t  period_ms = 1000U;
    SoftwareWatchdogHandle_t watchdog  = Io_SharedSoftwareWatchdog_AllocateWatchdog();
    Io_SharedSoftwareWatchdog_InitWatchdog(watchdog, RTOS_TASK_1HZ, period_ms);

    static uint32_t start_ticks = 0;
    start_ticks                 = osKernelGetTickCount();

    for (;;)
    {
        const uint32_t start_time_ms = osKernelGetTickCount();

        Io_StackWaterMark_Check();
        App_SharedStateMachine_Tick1Hz(state_machine);

        const bool debug_mode_enabled = App_CanRx_Debug_EnableDebugMode_Get();
        Io_CanTx_EnableMode(CAN_MODE_DEBUG, debug_mode_enabled);
        Io_CanTx_Enqueue1HzMsgs();

        // Watchdog check-in must be the last function called before putting the
        // task to sleep.
        Io_SharedSoftwareWatchdog_CheckInWatchdog(watchdog);

        start_ticks += period_ms;
        osDelayUntil(start_ticks);
    }
    /* USER CODE END RunTask1Hz */
}

void HAL_TIM_PeriodElapsedCallback(TIM_HandleTypeDef *htim)
{
    /* USER CODE BEGIN Callback 0 */
    if (htim->Instance == TIM4)
    {
        Io_FlowMeter_CheckIfFlowMeterIsActive();
    }
    else if (htim->Instance == TIM12)
    {
        Io_WheelSpeedSensors_CheckIfLeftSensorIsActive();
    }
    else if (htim->Instance == TIM12)
    {
        Io_WheelSpeedSensors_CheckIfRightSensorIsActive();
    }
    /* USER CODE END Callback 0 */
    if (htim->Instance == TIM6)
    {
        HAL_IncTick();
    }
}

void Error_Handler(void)
{
    /* USER CODE BEGIN Error_Handler_Debug */
    __assert_func(__FILE__, __LINE__, "Error_Handler", "Error_Handler");
    /* USER CODE END Error_Handler_Debug */
}

#ifdef USE_FULL_ASSERT
/**
 * @brief  Reports the name of the source file and the source line number
 *         where the assert_param error has occurred.
 * @param  file: pointer to the source file name
 * @param  line: assert_param error line source number
 * @retval None
 */
void assert_failed(uint8_t *file, uint32_t line)
{
    /* USER CODE BEGIN 6 */
    __assert_func(file, line, "assert_failed", "assert_failed");
    /* USER CODE END 6 */
}
#endif /* USE_FULL_ASSERT */

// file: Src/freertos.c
/* USER CODE BEGIN Header */
/**
 ******************************************************************************
 * File Name          : freertos.c
 * Description        : Code for freertos applications
 ******************************************************************************
 * @attention
 *
 * <h2><center>&copy; Copyright (c) 2023 STMicroelectronics.
 * All rights reserved.</center></h2>
 *
 * This software component is licensed by ST under Ultimate Liberty license
 * SLA0044, the "License"; You may not use this file except in compliance with
 * the License. You may obtain a copy of the License at:
 *                             www.st.com/SLA0044
 *
 ******************************************************************************
 */
/* USER CODE END Header */

#include "FreeRTOS.h"
#include "task.h"
#include "main.h"

/* Hook prototypes */
void vApplicationTickHook(void);
void vApplicationStackOverflowHook(xTaskHandle xTask, signed char *pcTaskName);

/* USER CODE BEGIN 3 */
__weak void vApplicationTickHook(void)
{
    /* This function will be called by each tick interrupt if
    configUSE_TICK_HOOK is set to 1 in FreeRTOSConfig.h. User code can be
    added here, but the tick hook is called from an interrupt context, so
    code must not attempt to block, and only the interrupt safe FreeRTOS API
    functions can be used (those that end in FromISR()). */
}
/* USER CODE END 3 */

/* USER CODE BEGIN 4 */
__weak void vApplicationStackOverflowHook(xTaskHandle xTask, signed char *pcTaskName)
{
    /* Run time stack overflow checking is performed if
    configCHECK_FOR_STACK_OVERFLOW is defined to 1 or 2. This hook function is
    called if a stack overflow is detected. */
}
/* USER CODE END 4 */
